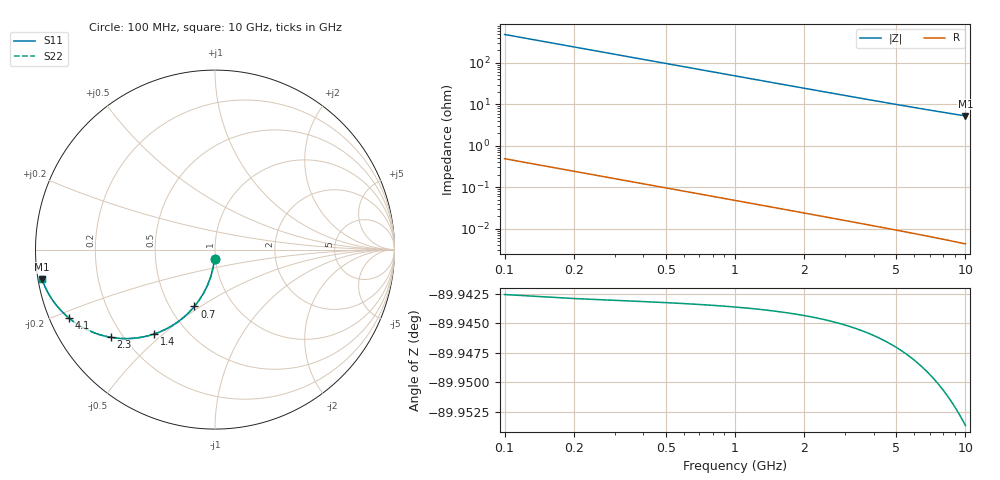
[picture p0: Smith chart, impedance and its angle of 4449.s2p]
# Hz S RI R 50.00
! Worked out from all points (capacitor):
!   100 points, 100 MHz to 10 GHz, reference 50 ohm
!   read as one part in shunt: C = 3.27 pF near 100 MHz
!   lowest |Z| = 5.28 ohm at 10 GHz (marker M1)
!   S11 on the Smith chart (normalised r, x): 100 MHz: 0.99, -0.10; 700 MHz: 0.66, -0.47; 1.4 GHz: 0.33, -0.47; 2.3 GHz: 0.15, -0.36; 4.1 GHz: 0.06, -0.22; 10 GHz: 0.01, -0.08
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1e8  -0.00265 -0.051  0.9973 -0.0514  0.9973 -0.0514  -0.00265 -0.051
2e8  -0.0105 -0.1013  0.9894 -0.102  0.9894 -0.102  -0.0105 -0.1013
3e8  -0.0233 -0.1499  0.9766 -0.151  0.9766 -0.151  -0.0233 -0.1499
4e8  -0.0406 -0.1963  0.9593 -0.1977  0.9593 -0.1977  -0.0406 -0.1963
5e8  -0.062 -0.2398  0.9379 -0.2416  0.9379 -0.2416  -0.062 -0.2398
6e8  -0.0869 -0.2801  0.9131 -0.2823  0.9131 -0.2823  -0.0869 -0.2801
7e8  -0.1146 -0.3168  0.8854 -0.3193  0.8854 -0.3193  -0.1146 -0.3168
8e8  -0.1445 -0.3497  0.8554 -0.3526  0.8554 -0.3526  -0.1445 -0.3497
1e9  -0.2087 -0.4041  0.7913 -0.4077  0.7913 -0.4077  -0.2087 -0.4041
1.2e9  -0.275 -0.4439  0.7249 -0.4482  0.7249 -0.4482  -0.275 -0.4439
1.4e9  -0.3404 -0.4708  0.6596 -0.4759  0.6596 -0.4759  -0.3404 -0.4708
1.6e9  -0.4025 -0.487  0.5975 -0.4928  0.5975 -0.4928  -0.4025 -0.487
1.8e9  -0.46 -0.4946  0.5399 -0.5012  0.5399 -0.5012  -0.46 -0.4946
2.3e9  -0.5814 -0.4886  0.4185 -0.497  0.4185 -0.497  -0.5814 -0.4886
2.8e9  -0.6728 -0.4635  0.327 -0.4738  0.327 -0.4738  -0.6728 -0.4635
3.4e9  -0.7519 -0.4251  0.248 -0.4377  0.248 -0.4377  -0.7519 -0.4251
4.1e9  -0.815 -0.38  0.1848 -0.3953  0.1848 -0.3953  -0.815 -0.38
5.1e9  -0.8722 -0.3236  0.1276 -0.3428  0.1276 -0.3428  -0.8722 -0.3236
5.8e9  -0.8984 -0.2904  0.1013 -0.3124  0.1013 -0.3124  -0.8984 -0.2904
6.7e9  -0.9221 -0.2544  0.0775 -0.2801  0.0775 -0.2801  -0.9221 -0.2544
8.4e9  -0.9493 -0.2018  0.0501 -0.2345  0.0501 -0.2345  -0.9493 -0.2018
1e10  -0.964 -0.1648  0.0351 -0.2044  0.0351 -0.2044  -0.964 -0.1648
